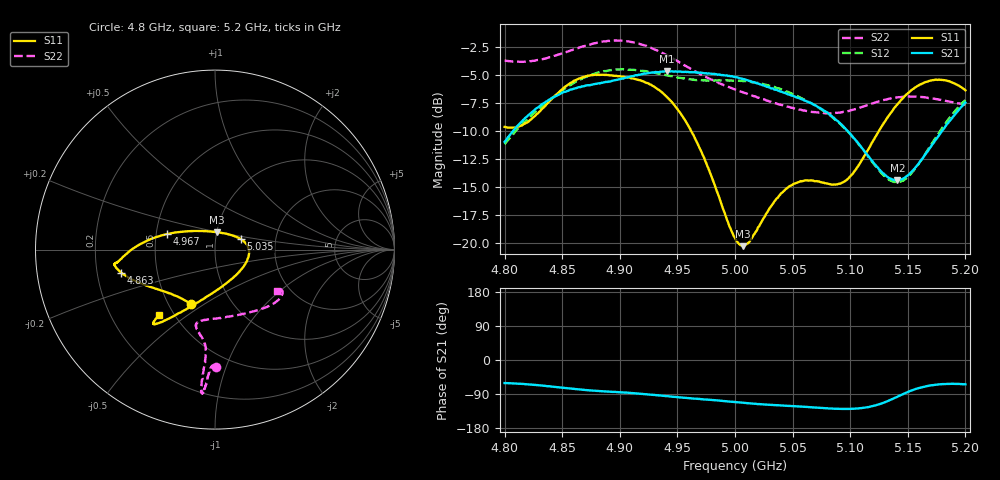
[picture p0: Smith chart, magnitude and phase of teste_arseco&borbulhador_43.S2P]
! Network Analyzer HP8722D
! Hewlett-Packard
! Data name: Linha & Wilkinson
! Saver's name: Rodrigo Anjos
! Comments: Teste da utilização de aquisição
! continua pelo VNA HP8722D
! Time and date: 15/4/2025 15:59
!  Frequency  S11  S21  S12  S22
# HZ  S  MA R 50
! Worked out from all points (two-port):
!   401 points, 4.8 GHz to 5.2 GHz, reference 50 ohm
!   highest |S21| = -4.64 dB at 4.941 GHz (marker M1); lowest = -14.4 dB at 5.141 GHz (marker M2)
!   |S21| within 3 dB of the highest: 4.832 GHz to 5.069 GHz (237 MHz wide, 4.79 % of centre); 5.198087 GHz to end of sweep
!   lowest |S11| = -20.3 dB at 5.007 GHz (marker M3), VSWR 1.22, Z = 50.3 + j9.79 ohm
!   |S11| at or under -10 dB: 4.962 GHz to 5.125 GHz (162.7 MHz wide, 3.23 % of centre)
!   |S22| runs from -8.4 to -1.9 dB; largest |S21 - S12| = 0.88
!   S11 on the Smith chart (normalised r, x): 4.8 GHz: 0.65, -0.44; 4.863 GHz: 0.30, -0.11; 4.967 GHz: 0.57, +0.11; 5.035 GHz: 1.33, +0.16; 5.2 GHz: 0.41, -0.39
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4.8e9  0.3309 -114.2  0.2839 -60.9  0.2771 -175.2  0.6544 -89.6
4.819e9  0.3457 -133.8  0.3665 -64.1  0.3542 -173.6  0.6473 -91.3
4.863e9  0.539 -166.3  0.4944 -77.4  0.531 -176.8  0.742 -93.7
4.867e9  0.5498 -167.9  0.5021 -78.5  0.5417 -177.6  0.7536 -93.8
4.901e9  0.5556 -172.3  0.542 -85.2  0.5973 175.3  0.803 -95.3
4.934e9  0.4843 -178.2  0.5797 -93.4  0.5739 172.0  0.7181 -95.7
4.941e9  0.4497 178.6  0.5859 -95.3  0.562 171.8  0.6904 -95.5
4.954e9  0.3713 171.6  0.5816 -99.0  0.5461 172.6  0.6328 -95.2
4.967e9  0.2827 162.2  0.5793 -102.3  0.535 173.9  0.5796 -95.0
5e9  0.1057 106.2  0.5531 -111.1  0.5323 176.3  0.4865 -99.4
5.007e9  0.09713 82.4  0.5412 -112.7  0.5285 176.3  0.4712 -100.9
5.013e9  0.1024 63.2  0.5303 -114.6  0.5251 176.1  0.4599 -102.1
5.035e9  0.1556 22.0  0.4849 -119.2  0.4961 174.9  0.422 -103.9
5.049e9  0.1815 7.4  0.4566 -121.4  0.4669 174.3  0.4028 -100.8
5.067e9  0.1908 -12.0  0.4196 -124.8  0.4208 173.8  0.3856 -91.7
5.086e9  0.1833 -42.4  0.3629 -128.4  0.3597 173.7  0.3817 -77.6
5.097e9  0.1918 -65.6  0.32 -129.2  0.3197 174.4  0.3885 -68.3
5.134e9  0.3744 -116.4  0.1955 -106.5  0.1915 -159.3  0.4422 -43.4
5.141e9  0.4173 -120.4  0.1908 -96.7  0.1875 -148.4  0.448 -40.2
5.153e9  0.4824 -125.3  0.2078 -80.8  0.2052 -129.7  0.4519 -36.0
5.17e9  0.5326 -128.8  0.2697 -67.0  0.2743 -113.1  0.4446 -32.1
5.2e9  0.4819 -130.6  0.4247 -64.2  0.4361 -106.2  0.4155 -33.5
